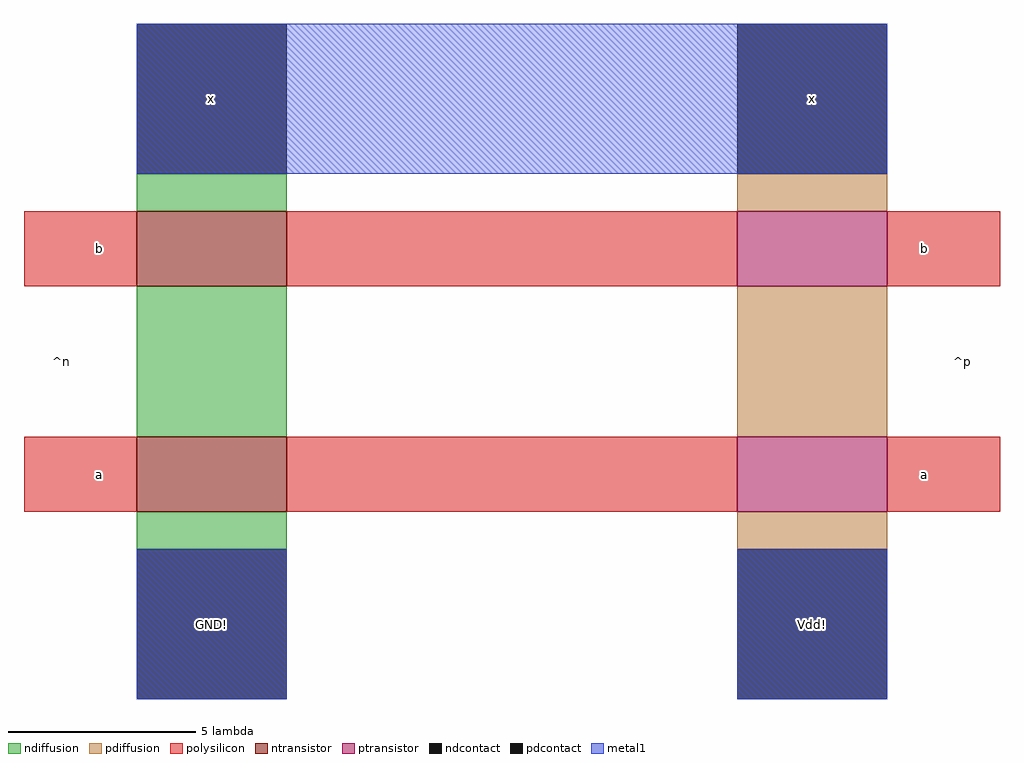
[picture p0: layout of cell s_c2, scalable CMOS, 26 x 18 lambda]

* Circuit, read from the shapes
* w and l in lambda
.subckt s_c2 GND! Vdd! a b x
M1 n1 a GND! VSUBS nfet w=4 l=2
M2 x b n1 VSUBS nfet w=4 l=2
M3 n2 a Vdd! NWELL pfet w=4 l=2
M4 x b n2 NWELL pfet w=4 l=2
.ends

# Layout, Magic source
magic
tech scmos
<< ndiffusion >>
rect -83 304 -79 305
rect -83 298 -79 302
rect -83 295 -79 296
<< pdiffusion >>
rect -67 304 -63 305
rect -67 298 -63 302
rect -67 295 -63 296
<< ntransistor >>
rect -83 302 -79 304
rect -83 296 -79 298
<< ptransistor >>
rect -67 302 -63 304
rect -67 296 -63 298
<< polysilicon >>
rect -86 302 -83 304
rect -79 302 -67 304
rect -63 302 -60 304
rect -86 296 -83 298
rect -79 296 -67 298
rect -63 296 -60 298
<< ndcontact >>
rect -83 305 -79 309
rect -83 291 -79 295
<< pdcontact >>
rect -67 305 -63 309
rect -67 291 -63 295
<< metal1 >>
rect -83 305 -63 309
rect -83 291 -79 295
rect -67 291 -63 295
<< labels >>
rlabel polysilicon -84 297 -84 297 3 a
rlabel polysilicon -84 303 -84 303 3 b
rlabel space -87 290 -83 310 7 ^n
rlabel space -63 290 -59 310 3 ^p
rlabel polysilicon -62 297 -62 297 3 a
rlabel polysilicon -62 303 -62 303 3 b
rlabel ndcontact -81 307 -81 307 1 x
rlabel ndcontact -81 293 -81 293 1 GND!
rlabel pdcontact -65 307 -65 307 1 x
rlabel pdcontact -65 293 -65 293 1 Vdd!
<< end >>
